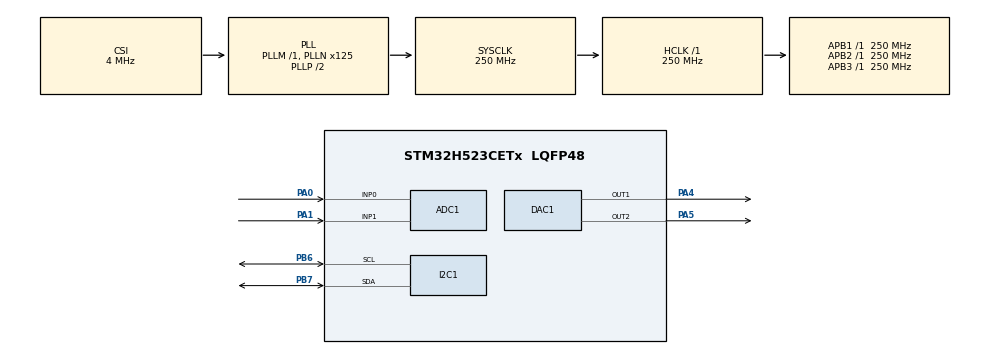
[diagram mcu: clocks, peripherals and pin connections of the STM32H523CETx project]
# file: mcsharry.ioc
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ADC1.Channel-3\#ChannelRegularConversion=ADC_CHANNEL_1
ADC1.MonitoredBy-3\#ChannelRegularConversion=__NULL
ADC1.NbrOfConversionFlag=1
ADC1.OffsetNumber-3\#ChannelRegularConversion=ADC_OFFSET_NONE
ADC1.Rank-3\#ChannelRegularConversion=1
ADC1.SamplingTime-3\#ChannelRegularConversion=ADC_SAMPLETIME_2CYCLES_5
ADC1.master=1
BOOTPATH.BootPathName=LEGACY
BOOTPATH.UserSelectedBootPath=LEGACY
CORTEX_M33_NS.userName=CORTEX_M33
DAC1.DAC_Channel-DAC_OUT1_Ext=DAC_CHANNEL_1
DAC1.DAC_Channel-DAC_OUT2_Ext=DAC_CHANNEL_2
I2C1.Timing=0x60808CD3
Mcu.Family=STM32H5
Mcu.Name=STM32H523CETx
Mcu.Package=LQFP48
NVIC.PriorityGroup=NVIC_PRIORITYGROUP_4
NVIC.TIM6_IRQn=true\:0\:0\:false\:false\:true\:true\:true\:true
PA0.Signal=ADCx_INP0
PA1.Signal=ADCx_INP1
PA4.Signal=COMP_DAC11_group
PA5.Signal=COMP_DAC12_group
PB6.Mode=I2C
PB6.Signal=I2C1_SCL
PB7.Mode=I2C
PB7.Signal=I2C1_SDA
ProjectManager.HeapSize=0x200
ProjectManager.StackSize=0x400
ProjectManager.TargetToolchain=STM32CubeIDE
RCC.ADCFreq_Value=250000000
RCC.AHBFreq_Value=250000000
RCC.APB1Freq_Value=250000000
RCC.APB1TimFreq_Value=250000000
RCC.APB2Freq_Value=250000000
RCC.APB2TimFreq_Value=250000000
RCC.APB3Freq_Value=250000000
RCC.CSI_VALUE=4000000
RCC.CortexFreq_Value=250000000
RCC.DACLowPowerCLockSelection=RCC_DACLPCLKSOURCE_LSI
RCC.EPOD_VALUE=4000000
RCC.HCLKFreq_Value=250000000
RCC.HSE_VALUE=25000000
RCC.HSI48_VALUE=48000000
RCC.HSIDiv=RCC_HSI_DIV1
RCC.HSI_VALUE=64000000
RCC.LSE_VALUE=32768
RCC.LSIRC_VALUE=32000
RCC.PLLFRACN=0
RCC.PLLN=125
RCC.SYSCLKFreq_VALUE=250000000
RCC.SYSCLKSource=RCC_SYSCLKSOURCE_PLLCLK
RCC.USBFreq_Value=48000000
RCC.VCOOutputFreq_Value=500000000
SH.ADCx_INP0.0=ADC1_INP0,IN0-Single-Ended
SH.ADCx_INP1.0=ADC1_INP1,IN1-Single-Ended
SH.COMP_DAC11_group.0=DAC1_OUT1,DAC_OUT1_Ext
SH.COMP_DAC12_group.0=DAC1_OUT2,DAC_OUT2_Ext
TIM6.PeriodNoDither=3905
TIM6.Prescaler=249
VP_BOOTPATH_VS_BOOTPATH.Mode=BP_Activate
VP_CORTEX_M33_NS_VS_Hclk.Mode=Hclk_Mode
VP_MEMORYMAP_VS_MEMORYMAP.Mode=CurAppReg
VP_PWR_VS_LPOM.Mode=PowerOptimisation
VP_PWR_VS_SECSignals.Mode=Security/Privilege
VP_TIM6_VS_ClockSourceINT.Mode=Enable_Timer
board=custom

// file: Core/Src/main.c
/* USER CODE BEGIN Header */
/**
  ******************************************************************************
  * @file           : main.c
  * @brief          : Main program body
  ******************************************************************************
  * @attention
  *
  * Copyright (c) 2026 STMicroelectronics.
  * All rights reserved.
  *
  * This software is licensed under terms that can be found in the LICENSE file
  * in the root directory of this software component.
  * If no LICENSE file comes with this software, it is provided AS-IS.
  *
  ******************************************************************************
  */
/* USER CODE END Header */

#include "main.h"

/* USER CODE BEGIN Includes */
#include <math.h>
#include <stdlib.h>
#include <stdbool.h>
#include <stdint.h>
#include <stdio.h>
#include "ecgsyn_model.h"
#include "ssd1306.h"
#include "ssd1306_fonts.h"
/* USER CODE END Includes */

/* USER CODE BEGIN PD */
#define ECG_CENTER_MV        (0.4f)
#define ECG_SCALE_X          (1000.0f)
#define VDDA                 (3.3f)
#define DAC_BITS             (12)
#define DAC_MAX              ((1U << DAC_BITS) - 1U)
#define ECG_BLOCK_MAX_SAMPLES 8192

#if defined(USE_TUSTIN)
  #define ECG_METHOD_STR "TUS"
#elif defined(USE_RK4)
  #define ECG_METHOD_STR "RK4"
#else
  #define ECG_METHOD_STR "???"
#endif
/* USER CODE END PD */

ADC_HandleTypeDef hadc1;
DAC_HandleTypeDef hdac1;
I2C_HandleTypeDef hi2c1;
TIM_HandleTypeDef htim6;

/* USER CODE BEGIN PV */
static EcgSynParams params;
static EcgSynContext ecgCtx;

/* two buffers */
static uint16_t *bufA = NULL;
static uint16_t *bufB = NULL;

/* playback side: ISR-owned */
static uint16_t * volatile playBuf = NULL;
static volatile int playLen = 0;
static volatile int playIndex = 0;

/* build side: main-loop-owned */
static uint16_t *buildBuf = NULL;
static int buildLen = 0;

/* flags */
static volatile bool block_wrap_flag = false;
static volatile bool build_request_flag = false;
static volatile bool swap_pending = false;
static volatile bool underrun_flag = false;

/* ECG state continuity */
static float next_x = 1.0f;
static float next_y = 0.0f;
static float next_z = 0.04f;

static uint16_t refDacCode = 0;

static int last_adc_sig = 0;
static int last_adc_ref = 0;
static int last_adc_diff = 0;

static uint32_t build_time_ms = 0;
static uint32_t blocks_built = 0;
/* USER CODE END PV */

void SystemClock_Config(void);
static void MX_GPIO_Init(void);
static void MX_ADC1_Init(void);
static void MX_DAC1_Init(void);
static void MX_I2C1_Init(void);
static void MX_TIM6_Init(void);

/* USER CODE BEGIN PFP */
static uint16_t ecg_mv_to_dac(float ecg_mv);
static bool build_block_into_buffer(uint16_t *dst, int max_len, int *out_len,
                                    float *x_next, float *y_next, float *z_next);
static uint16_t read_adc_channel(uint32_t channel);
static void oled_show_build_info(void);
static void oled_show_error(const char *msg);
void HAL_TIM_PeriodElapsedCallback(TIM_HandleTypeDef *htim);
/* USER CODE END PFP */

/* USER CODE BEGIN 0 */

static uint16_t ecg_mv_to_dac(float ecg_mv)
{
  float volts = (ecg_mv + ECG_CENTER_MV) * ECG_SCALE_X * 0.001f;
  int code = (int)lroundf((volts / VDDA) * (float)DAC_MAX);

  if (code < 0) code = 0;
  if (code > (int)DAC_MAX) code = (int)DAC_MAX;

  return (uint16_t)code;
}

static bool build_block_into_buffer(uint16_t *dst, int max_len, int *out_len,
                                    float *x_next, float *y_next, float *z_next)
{
  float *ecgBlockMv = NULL;
  int len = 0;
  float x_end = 0.0f;
  float y_end = 0.0f;
  float z_end = 0.0f;

  if ((dst == NULL) || (out_len == NULL) || (x_next == NULL) || (y_next == NULL) || (z_next == NULL)) {
    return false;
  }

  params.xinitial = *x_next;
  params.yinitial = *y_next;
  params.zinitial = *z_next;

  if (!build_block_mv(&params, &ecgBlockMv, &len, &ecgCtx, &x_end, &y_end, &z_end)) {
    free_context(&ecgCtx);
    return false;
  }

  if ((len <= 0) || (len > max_len)) {
    if (ecgBlockMv) free(ecgBlockMv);
    free_context(&ecgCtx);
    return false;
  }

  for (int i = 0; i < len; i++) {
      if (!isfinite(ecgBlockMv[i])) {
          if (ecgBlockMv) free(ecgBlockMv);
          free_context(&ecgCtx);
          return false;
      }
      dst[i] = ecg_mv_to_dac(ecgBlockMv[i]);
  }

  *out_len = len;
  *x_next = x_end;
  *y_next = y_end;
  *z_next = z_end;

  free(ecgBlockMv);
  free_context(&ecgCtx);
  return true;
}

static uint16_t read_adc_channel(uint32_t channel)
{
  ADC_ChannelConfTypeDef sConfig = {0};

  sConfig.Channel = channel;
  sConfig.Rank = ADC_REGULAR_RANK_1;
  sConfig.SamplingTime = ADC_SAMPLETIME_2CYCLES_5;
  sConfig.SingleDiff = ADC_SINGLE_ENDED;
  sConfig.OffsetNumber = ADC_OFFSET_NONE;
  sConfig.Offset = 0;

  if (HAL_ADC_ConfigChannel(&hadc1, &sConfig) != HAL_OK) {
    Error_Handler();
  }

  if (HAL_ADC_Start(&hadc1) != HAL_OK) {
    Error_Handler();
  }

  if (HAL_ADC_PollForConversion(&hadc1, 10) != HAL_OK) {
    Error_Handler();
  }

  uint16_t val = (uint16_t)HAL_ADC_GetValue(&hadc1);

  if (HAL_ADC_Stop(&hadc1) != HAL_OK) {
    Error_Handler();
  }

  return val;
}

static void oled_show_build_info(void)
{
  char line[32];
  uint32_t sysclk_mhz;
  uint32_t hclk_mhz;
  uint32_t pclk1_mhz;

  SystemCoreClockUpdate();
  sysclk_mhz = SystemCoreClock / 1000000UL;
  hclk_mhz   = HAL_RCC_GetHCLKFreq() / 1000000UL;
  pclk1_mhz  = HAL_RCC_GetPCLK1Freq() / 1000000UL;

  ssd1306_Fill(Black);

  ssd1306_SetCursor(0, 0);
  snprintf(line, sizeof(line), "SYS:%3lu H:%3lu",
           (unsigned long)sysclk_mhz,
           (unsigned long)hclk_mhz);
  ssd1306_WriteString(line, Font_7x10, White);

  ssd1306_SetCursor(0, 16);
  snprintf(line, sizeof(line), "P1:%3lu B:%4lu",
           (unsigned long)pclk1_mhz,
           (unsigned long)build_time_ms);
  ssd1306_WriteString(line, Font_7x10, White);

  ssd1306_SetCursor(0, 32);
  snprintf(line, sizeof(line), "Len:%d %s",
           (int)playLen,
           ECG_METHOD_STR);
  ssd1306_WriteString(line, Font_7x10, White);

  ssd1306_SetCursor(0, 48);
  snprintf(line, sizeof(line), "Blk:%lu",
           (unsigned long)blocks_built);
  ssd1306_WriteString(line, Font_7x10, White);

  ssd1306_UpdateScreen();
}

static void oled_show_error(const char *msg)
{
  ssd1306_Fill(Black);
  ssd1306_SetCursor(0, 0);
  ssd1306_WriteString("ERROR", Font_7x10, White);
  ssd1306_SetCursor(0, 16);
  ssd1306_WriteString((char*)msg, Font_7x10, White);
  ssd1306_UpdateScreen();
}

void HAL_TIM_PeriodElapsedCallback(TIM_HandleTypeDef *htim)
{
  if (htim->Instance == TIM6)
  {
    if ((playBuf != NULL) && (playLen > 0))
    {
      if (HAL_DAC_SetValue(&hdac1, DAC_CHANNEL_2, DAC_ALIGN_12B_R, playBuf[playIndex]) != HAL_OK) {
        Error_Handler();
      }

      playIndex++;
      if (playIndex >= playLen) {
        playIndex = 0;
        block_wrap_flag = true;

        if (swap_pending) {
          uint16_t *oldPlay = (uint16_t *)playBuf;
          int oldLen = playLen;

          playBuf = buildBuf;
          playLen = buildLen;

          buildBuf = oldPlay;
          buildLen = oldLen;

          swap_pending = false;
          build_request_flag = true;
        } else {
          underrun_flag = true;
        }
      }
    }
  }
}

/* USER CODE END 0 */

int main(void)
{
  HAL_Init();
  SystemClock_Config();

  MX_GPIO_Init();
  MX_ADC1_Init();
  MX_DAC1_Init();
  MX_I2C1_Init();
  MX_TIM6_Init();

  /* USER CODE BEGIN 2 */
  HAL_Delay(100);
  ssd1306_Init();

  ssd1306_Fill(Black);
  ssd1306_SetCursor(0, 0);
  ssd1306_WriteString("Building ECG...", Font_7x10, White);
  ssd1306_UpdateScreen();

  ecgsyn_init_default_params(&params);
  ecgsyn_init_context(&ecgCtx);

  params.ecg_fs      = 256;
  params.internal_fs = 256;
  params.n_beats     = 16;
  params.hr_mean     = 60.0f;
  params.hr_std      = 1.0f;
  params.noise_mv    = 0.0f;
  params.seed_init   = 1;

  bufA = (uint16_t*)malloc(ECG_BLOCK_MAX_SAMPLES * sizeof(uint16_t));
  bufB = (uint16_t*)malloc(ECG_BLOCK_MAX_SAMPLES * sizeof(uint16_t));
  if ((bufA == NULL) || (bufB == NULL)) {
    oled_show_error("Buf alloc fail");
    Error_Handler();
  }

  uint32_t t0 = HAL_GetTick();

  int firstLen = 0;

  if (!build_block_into_buffer(bufA, ECG_BLOCK_MAX_SAMPLES, &firstLen,
                               &next_x, &next_y, &next_z)) {
    oled_show_error("Build A fail");
    Error_Handler();
  }
  playLen = firstLen;

  if (!build_block_into_buffer(bufB, ECG_BLOCK_MAX_SAMPLES, &buildLen,
                               &next_x, &next_y, &next_z)) {
    oled_show_error("Build B fail");
    Error_Handler();
  }

  build_time_ms = HAL_GetTick() - t0;
  blocks_built = 2;

  playBuf = bufA;
  buildBuf = bufB;
  playIndex = 0;
  swap_pending = true;
  build_request_flag = false;
  block_wrap_flag = false;
  underrun_flag = false;

  oled_show_build_info();

  if (HAL_DAC_Start(&hdac1, DAC_CHANNEL_1) != HAL_OK) {
    oled_show_error("DAC1 CH1 fail");
    Error_Handler();
  }

  if (HAL_DAC_Start(&hdac1, DAC_CHANNEL_2) != HAL_OK) {
    oled_show_error("DAC1 CH2 fail");
    Error_Handler();
  }

  refDacCode = ecg_mv_to_dac(0.0f);

  if (HAL_DAC_SetValue(&hdac1, DAC_CHANNEL_1, DAC_ALIGN_12B_R, refDacCode) != HAL_OK) {
    oled_show_error("Set DAC ref fail");
    Error_Handler();
  }

  if (HAL_DAC_SetValue(&hdac1, DAC_CHANNEL_2, DAC_ALIGN_12B_R, playBuf[0]) != HAL_OK) {
    oled_show_error("Set DAC sig fail");
    Error_Handler();
  }

  if (HAL_TIM_Base_Start_IT(&htim6) != HAL_OK) {
    oled_show_error("TIM6 start fail");
    Error_Handler();
  }
  /* USER CODE END 2 */

  while (1)
  {
    bool do_wrap = false;
    bool do_build = false;
    bool do_underrun = false;

    __disable_irq();
    do_wrap = block_wrap_flag;
    block_wrap_flag = false;

    do_build = build_request_flag && !swap_pending;
    if (do_build) {
      build_request_flag = false;
    }

    do_underrun = underrun_flag;
    underrun_flag = false;
    __enable_irq();

    if (do_wrap)
    {
      last_adc_sig  = (int)read_adc_channel(ADC_CHANNEL_1);
      last_adc_ref  = (int)read_adc_channel(ADC_CHANNEL_2);
      last_adc_diff = last_adc_sig - last_adc_ref;
    }

    if (do_build)
    {
      if (!build_block_into_buffer(buildBuf, ECG_BLOCK_MAX_SAMPLES, &buildLen,
                                   &next_x, &next_y, &next_z)) {
        oled_show_error("Rebuild fail");
        Error_Handler();
      }

      blocks_built++;

      __disable_irq();
      swap_pending = true;
      __enable_irq();

      oled_show_build_info();
    }

    if (do_underrun)
    {
      oled_show_error("UNDERRUN");
      Error_Handler();
    }
  }
}

/**
  * @brief System Clock Conguration
  * @retval None
  */
void SystemClock_Config(void)
{
  RCC_OscInitTypeDef RCC_OscInitStruct = {0};
  RCC_ClkInitTypeDef RCC_ClkInitStruct = {0};

  __HAL_PWR_VOLTAGESCALING_CONFIG(PWR_REGULATOR_VOLTAGE_SCALE0);
  while(!__HAL_PWR_GET_FLAG(PWR_FLAG_VOSRDY)) {}

  RCC_OscInitStruct.OscillatorType = RCC_OSCILLATORTYPE_LSI | RCC_OSCILLATORTYPE_CSI;
  RCC_OscInitStruct.LSIState = RCC_LSI_ON;
  RCC_OscInitStruct.CSIState = RCC_CSI_ON;
  RCC_OscInitStruct.CSICalibrationValue = RCC_CSICALIBRATION_DEFAULT;
  RCC_OscInitStruct.PLL.PLLState = RCC_PLL_ON;
  RCC_OscInitStruct.PLL.PLLSource = RCC_PLL1_SOURCE_CSI;
  RCC_OscInitStruct.PLL.PLLM = 1;
  RCC_OscInitStruct.PLL.PLLN = 125;
  RCC_OscInitStruct.PLL.PLLP = 2;
  RCC_OscInitStruct.PLL.PLLQ = 2;
  RCC_OscInitStruct.PLL.PLLR = 2;
  RCC_OscInitStruct.PLL.PLLRGE = RCC_PLL1_VCIRANGE_2;
  RCC_OscInitStruct.PLL.PLLVCOSEL = RCC_PLL1_VCORANGE_WIDE;
  RCC_OscInitStruct.PLL.PLLFRACN = 0;
  if (HAL_RCC_OscConfig(&RCC_OscInitStruct) != HAL_OK)
  {
    Error_Handler();
  }

  RCC_ClkInitStruct.ClockType = RCC_CLOCKTYPE_HCLK | RCC_CLOCKTYPE_SYSCLK
                              | RCC_CLOCKTYPE_PCLK1 | RCC_CLOCKTYPE_PCLK2
                              | RCC_CLOCKTYPE_PCLK3;
  RCC_ClkInitStruct.SYSCLKSource = RCC_SYSCLKSOURCE_PLLCLK;
  RCC_ClkInitStruct.AHBCLKDivider = RCC_SYSCLK_DIV1;
  RCC_ClkInitStruct.APB1CLKDivider = RCC_HCLK_DIV1;
  RCC_ClkInitStruct.APB2CLKDivider = RCC_HCLK_DIV1;
  RCC_ClkInitStruct.APB3CLKDivider = RCC_HCLK_DIV1;

  if (HAL_RCC_ClockConfig(&RCC_ClkInitStruct, FLASH_LATENCY_5) != HAL_OK)
  {
    Error_Handler();
  }

  __HAL_FLASH_SET_PROGRAM_DELAY(FLASH_PROGRAMMING_DELAY_2);
}

static void MX_ADC1_Init(void)
{
  ADC_ChannelConfTypeDef sConfig = {0};

  hadc1.Instance = ADC1;
  hadc1.Init.ClockPrescaler = ADC_CLOCK_ASYNC_DIV4;
  hadc1.Init.Resolution = ADC_RESOLUTION_12B;
  hadc1.Init.DataAlign = ADC_DATAALIGN_RIGHT;
  hadc1.Init.ScanConvMode = ADC_SCAN_DISABLE;
  hadc1.Init.EOCSelection = ADC_EOC_SINGLE_CONV;
  hadc1.Init.LowPowerAutoWait = DISABLE;
  hadc1.Init.ContinuousConvMode = DISABLE;
  hadc1.Init.NbrOfConversion = 1;
  hadc1.Init.DiscontinuousConvMode = DISABLE;
  hadc1.Init.ExternalTrigConv = ADC_SOFTWARE_START;
  hadc1.Init.ExternalTrigConvEdge = ADC_EXTERNALTRIGCONVEDGE_NONE;
  hadc1.Init.DMAContinuousRequests = DISABLE;
  hadc1.Init.SamplingMode = ADC_SAMPLING_MODE_NORMAL;
  hadc1.Init.Overrun = ADC_OVR_DATA_PRESERVED;
  hadc1.Init.OversamplingMode = DISABLE;
  if (HAL_ADC_Init(&hadc1) != HAL_OK)
  {
    Error_Handler();
  }

  sConfig.Channel = ADC_CHANNEL_1;
  sConfig.Rank = ADC_REGULAR_RANK_1;
  sConfig.SamplingTime = ADC_SAMPLETIME_2CYCLES_5;
  sConfig.SingleDiff = ADC_SINGLE_ENDED;
  sConfig.OffsetNumber = ADC_OFFSET_NONE;
  sConfig.Offset = 0;
  if (HAL_ADC_ConfigChannel(&hadc1, &sConfig) != HAL_OK)
  {
    Error_Handler();
  }
}

static void MX_DAC1_Init(void)
{
  DAC_ChannelConfTypeDef sConfig = {0};

  hdac1.Instance = DAC1;
  if (HAL_DAC_Init(&hdac1) != HAL_OK)
  {
    Error_Handler();
  }

  sConfig.DAC_HighFrequency = DAC_HIGH_FREQUENCY_INTERFACE_MODE_DISABLE;
  sConfig.DAC_DMADoubleDataMode = DISABLE;
  sConfig.DAC_SignedFormat = DISABLE;
  sConfig.DAC_SampleAndHold = DAC_SAMPLEANDHOLD_DISABLE;
  sConfig.DAC_Trigger = DAC_TRIGGER_NONE;
  sConfig.DAC_ConnectOnChipPeripheral = DAC_CHIPCONNECT_EXTERNAL;
  sConfig.DAC_UserTrimming = DAC_TRIMMING_FACTORY;

  if (HAL_DAC_ConfigChannel(&hdac1, &sConfig, DAC_CHANNEL_1) != HAL_OK)
  {
    Error_Handler();
  }

  sConfig.DAC_OutputBuffer = DAC_OUTPUTBUFFER_ENABLE;
  if (HAL_DAC_ConfigChannel(&hdac1, &sConfig, DAC_CHANNEL_2) != HAL_OK)
  {
    Error_Handler();
  }
}

static void MX_I2C1_Init(void)
{
  hi2c1.Instance = I2C1;
  hi2c1.Init.Timing = 0x60808CD3;
  hi2c1.Init.OwnAddress1 = 0;
  hi2c1.Init.AddressingMode = I2C_ADDRESSINGMODE_7BIT;
  hi2c1.Init.DualAddressMode = I2C_DUALADDRESS_DISABLE;
  hi2c1.Init.OwnAddress2 = 0;
  hi2c1.Init.OwnAddress2Masks = I2C_OA2_NOMASK;
  hi2c1.Init.GeneralCallMode = I2C_GENERALCALL_DISABLE;
  hi2c1.Init.NoStretchMode = I2C_NOSTRETCH_DISABLE;
  if (HAL_I2C_Init(&hi2c1) != HAL_OK)
  {
    Error_Handler();
  }

  if (HAL_I2CEx_ConfigAnalogFilter(&hi2c1, I2C_ANALOGFILTER_ENABLE) != HAL_OK)
  {
    Error_Handler();
  }

  if (HAL_I2CEx_ConfigDigitalFilter(&hi2c1, 0) != HAL_OK)
  {
    Error_Handler();
  }
}

static void MX_TIM6_Init(void)
{
  TIM_MasterConfigTypeDef sMasterConfig = {0};

  htim6.Instance = TIM6;
  htim6.Init.Prescaler = 249;
  htim6.Init.CounterMode = TIM_COUNTERMODE_UP;
  htim6.Init.Period = 3905;
  htim6.Init.AutoReloadPreload = TIM_AUTORELOAD_PRELOAD_DISABLE;
  if (HAL_TIM_Base_Init(&htim6) != HAL_OK)
  {
    Error_Handler();
  }

  sMasterConfig.MasterOutputTrigger = TIM_TRGO_RESET;
  sMasterConfig.MasterSlaveMode = TIM_MASTERSLAVEMODE_DISABLE;
  if (HAL_TIMEx_MasterConfigSynchronization(&htim6, &sMasterConfig) != HAL_OK)
  {
    Error_Handler();
  }
}

static void MX_GPIO_Init(void)
{
  __HAL_RCC_GPIOA_CLK_ENABLE();
  __HAL_RCC_GPIOB_CLK_ENABLE();
}

void Error_Handler(void)
{
  __disable_irq();
  while (1)
  {
  }
}
